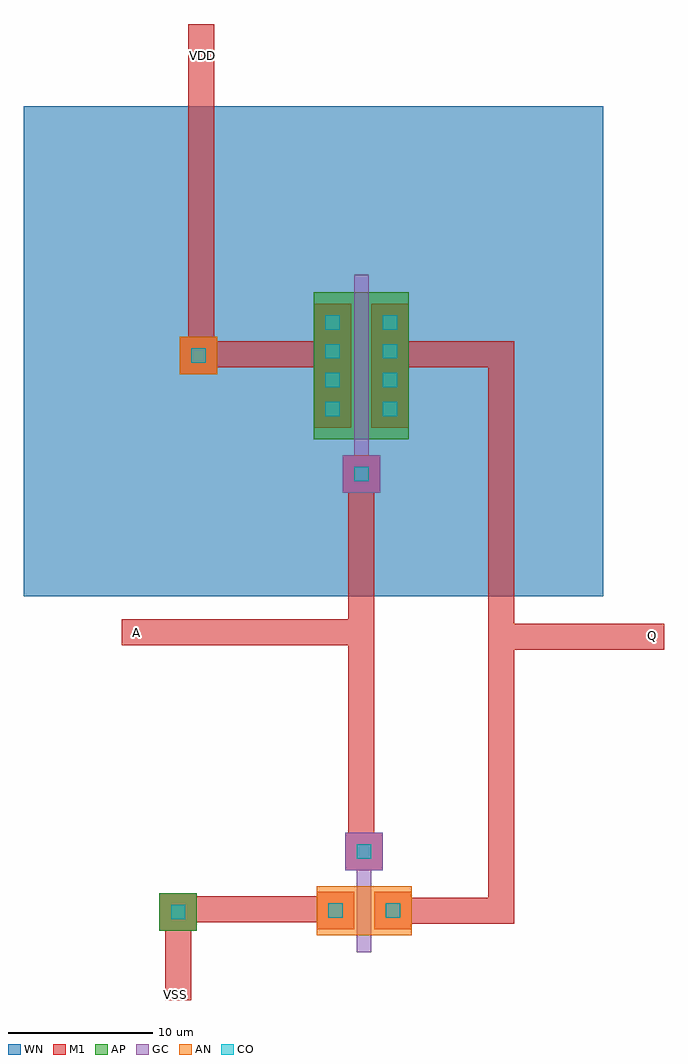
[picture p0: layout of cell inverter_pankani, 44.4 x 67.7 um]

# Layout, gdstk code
from math import pi, radians
import gdstk
lib = gdstk.Library(unit=1e-6, precision=1e-07)
def R(c, l, rs):  # rectangles x0, y0, x1, y1
    for r in rs: c.add(gdstk.rectangle(r[:2], r[2:], *l))
def A(c, l, x, y, w, h, nx, ny, dx, dy):  # array of equal rectangles
    R(c, l, [(x+i*dx, y+j*dy, x+i*dx+w, y+j*dy+h) for i in range(nx) for j in range(ny)])
AP = (3, 1)
AN = (3, 2)
GC = (8, 1)
CO = (11, 0)
M1 = (13, 0)
WN = (140, 0)

cont_g = lib.new_cell('cont_g')
R(cont_g, GC, [(-1.3,-1.3,1.3,1.3)])
R(cont_g, CO, [(-0.5,-0.5,0.5,0.5)])
R(cont_g, M1, [(-1.3,-1.3,1.3,1.3)])

cont_n = lib.new_cell('cont_n')
R(cont_n, AN, [(-1.3,-1.3,1.3,1.3)])
R(cont_n, CO, [(-0.5,-0.5,0.5,0.5)])
R(cont_n, M1, [(-1.3,-1.3,1.3,1.3)])

cont_p = lib.new_cell('cont_p')
R(cont_p, AP, [(-1.3,-1.3,1.3,1.3)])
R(cont_p, CO, [(-0.5,-0.5,0.5,0.5)])
R(cont_p, M1, [(-1.3,-1.3,1.3,1.3)])

fet_n = lib.new_cell('fet_n')
R(fet_n, AN, [(-3.3,-1.7,3.3,1.7)])
R(fet_n, CO, [(-2.5,-0.5,-1.5,0.5), (1.5,-0.5,2.5,0.5)])
R(fet_n, M1, [(-3.3,-1.3,-0.7,1.3), (0.7,-1.3,3.3,1.3)])
fet_n.add(gdstk.FlexPath([(0,-2.9),(0,2.9)], 1, ends="flush", simple_path=True, layer=8, datatype=1))  # GC

fet_p = lib.new_cell('fet_p')
R(fet_p, AP, [(-3.3,-5.1,3.3,5.1)])
A(fet_p, CO, -2.5, -3.5, 1, 1, 1, 4, 0, 2)
A(fet_p, CO, 1.5, -3.5, 1, 1, 1, 4, 0, 2)
R(fet_p, M1, [(-3.3,-4.3,-0.7,4.3), (0.7,-4.3,3.3,4.3)])
fet_p.add(gdstk.FlexPath([(0,-6.3),(0,6.3)], 1, ends="flush", simple_path=True, layer=8, datatype=1))  # GC

inverter_pankani = lib.new_cell('inverter_pankani')
R(inverter_pankani, WN, [(-21.4,-6.6,18.8,27.4)])
inverter_pankani.add(gdstk.FlexPath([(11.1,-9.4),(23,-9.4)], 1.8, ends="flush", simple_path=True, layer=13, datatype=0))  # M1
inverter_pankani.add(gdstk.FlexPath([(2.3,-9.1),(-14.6,-9.1)], 1.8, ends="flush", simple_path=True, layer=13, datatype=0))  # M1
inverter_pankani.add(gdstk.FlexPath([(1,-28.3),(-11.8,-28.3)], 1.8, ends="flush", simple_path=True, layer=13, datatype=0))  # M1
inverter_pankani.add(gdstk.FlexPath([(-10.7,-27.8),(-10.7,-34.6)], 1.8, ends="flush", simple_path=True, layer=13, datatype=0))  # M1
inverter_pankani.add(gdstk.FlexPath([(0.9,10.2),(-9.1,10.2),(-9.1,33.1)], 1.8, ends="flush", simple_path=True, layer=13, datatype=0))  # M1
inverter_pankani.add(gdstk.FlexPath([(2,2.7),(2,-25.3)], 1.8, ends="flush", simple_path=True, layer=13, datatype=0))  # M1
inverter_pankani.add(gdstk.FlexPath([(3.3,-28.4),(11.7,-28.4),(11.7,10.2),(3,10.2)], 1.8, ends="flush", simple_path=True, layer=13, datatype=0))  # M1
inverter_pankani.add(gdstk.Reference(cont_g, (2,1.9)))
inverter_pankani.add(gdstk.Reference(cont_n, (-9.3,10.1)))
inverter_pankani.add(gdstk.Reference(cont_g, (2.2,-24.3)))
inverter_pankani.add(gdstk.Reference(cont_p, (-10.7,-28.5)))
inverter_pankani.add(gdstk.Reference(fet_n, (2.2,-28.4)))
inverter_pankani.add(gdstk.Reference(fet_p, (2,9.4), rotation=pi))
inverter_pankani.add(gdstk.Label('VDD', (-9,30.9), layer=13, texttype=0))
inverter_pankani.add(gdstk.Label('Q', (22.2,-9.3), layer=13, texttype=0))
inverter_pankani.add(gdstk.Label('A', (-13.6,-9.1), layer=13, texttype=0))
inverter_pankani.add(gdstk.Label('VSS', (-10.9,-34.2), layer=13, texttype=0))

lib.write_gds('inverter_pankani.gds')
